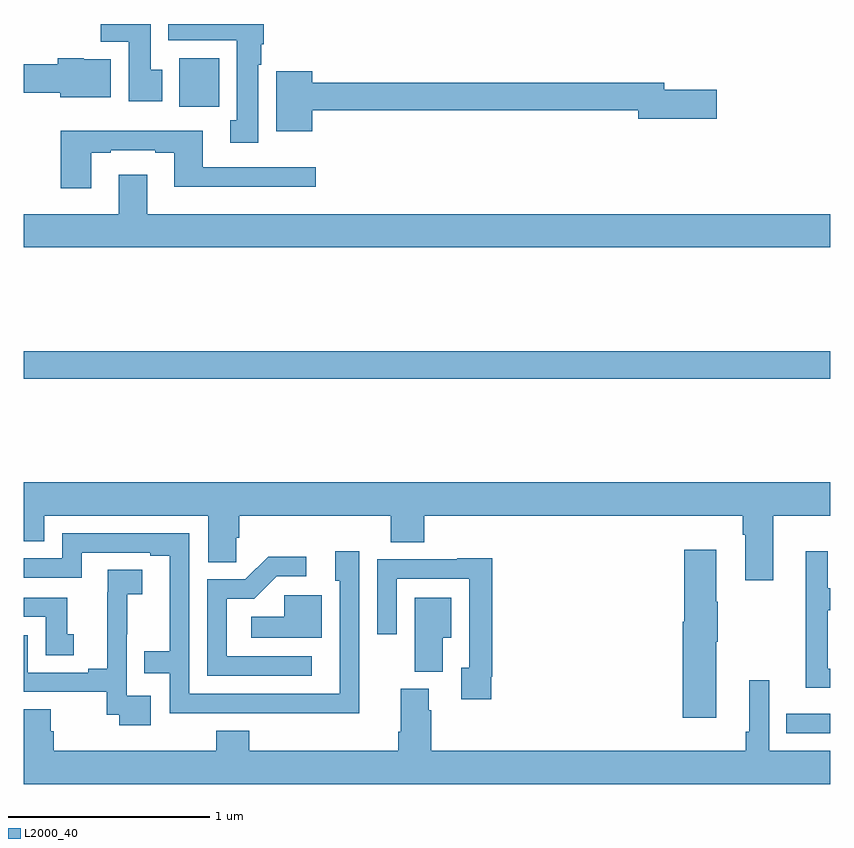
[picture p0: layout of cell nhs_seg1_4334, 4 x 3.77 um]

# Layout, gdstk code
import gdstk
lib = gdstk.Library(unit=1e-6, precision=1e-09)
def R(c, l, rs):  # rectangles x0, y0, x1, y1
    for r in rs: c.add(gdstk.rectangle(r[:2], r[2:], *l))
def P(c, l, *ps):  # polygons
    for p in ps: c.add(gdstk.Polygon(p, *l))
L2000_40 = (2000, 40)

nhs_seg1_4334 = lib.new_cell('nhs_seg1_4334')
R(nhs_seg1_4334, L2000_40, [(350.782,522.681,351,522.777), (347,524.44,351,524.576), (347.771,525.788,347.968,526.03)])
P(nhs_seg1_4334, L2000_40, [(348.163,525.998),(348.178,525.998),(348.178,526.098),(348.19,526.098),(348.19,526.199),(347.717,526.199),(347.717,526.118),(348.056,526.118),(348.056,525.722),(348.023,525.722),(348.023,525.609),(348.163,525.609)],
  [(347.686,525.972),(347.629,525.972),(347.629,526.199),(347.38,526.199),(347.38,526.112),(347.519,526.112),(347.519,525.816),(347.686,525.816)],
  [(347.431,526.024),(347.298,526.024),(347.298,526.03),(347.168,526.03),(347.168,525.999),(347,525.999),(347,525.857),(347.18,525.857),(347.18,525.836),(347.431,525.836)],
  [(348.43,525.772),(350.048,525.772),(350.048,525.73),(350.437,525.73),(350.437,525.872),(350.176,525.872),(350.176,525.908),(348.43,525.908),(348.43,525.964),(348.251,525.964),(348.251,525.668),(348.43,525.668)],
  [(347.335,525.561),(347.431,525.561),(347.431,525.573),(347.651,525.573),(347.651,525.561),(347.747,525.561),(347.747,525.392),(348.448,525.392),(348.448,525.489),(347.887,525.489),(347.887,525.67),(347.183,525.67),(347.183,525.384),(347.335,525.384)],
  [(351,525.256),(347.611,525.256),(347.611,525.451),(347.471,525.451),(347.471,525.256),(347,525.256),(347,525.092),(351,525.092)],
  [(350.719,523.76),(351,523.76),(351,523.924),(347,523.924),(347,523.633),(347.101,523.633),(347.101,523.76),(347.915,523.76),(347.915,523.528),(348.054,523.528),(348.054,523.651),(348.068,523.651),(348.068,523.76),(348.821,523.76),(348.821,523.627),(348.986,523.627),(348.986,523.76),(350.567,523.76),(350.567,523.664),(350.579,523.664),(350.579,523.44),(350.719,523.44)],
  [(348.665,523.082),(348.663,523.082),(348.663,523.582),(348.545,523.582),(348.545,523.437),(348.567,523.437),(348.567,522.876),(347.82,522.876),(347.82,523.671),(347.19,523.671),(347.19,523.548),(347,523.548),(347,523.452),(347.286,523.452),(347.286,523.575),(347.627,523.575),(347.627,523.56),(347.723,523.56),(347.723,523.087),(347.596,523.087),(347.596,522.978),(347.724,522.978),(347.724,522.78),(348.202,522.78),(348.202,522.779),(348.665,522.779)],
  [(350.434,523.133),(350.442,523.133),(350.442,523.333),(350.434,523.333),(350.434,523.591),(350.276,523.591),(350.276,523.233),(350.27,523.233),(350.27,522.756),(350.434,522.756)],
  [(351,522.999),(350.988,522.999),(350.988,523.29),(351,523.29),(351,523.399),(350.989,523.399),(350.989,523.582),(350.879,523.582),(350.879,523.337),(350.88,523.337),(350.88,522.905),(351,522.905)],
  [(348.427,523.062),(348.006,523.062),(348.006,523.347),(348.144,523.347),(348.255,523.458),(348.4,523.458),(348.4,523.556),(348.212,523.556),(348.099,523.443),(347.91,523.443),(347.91,522.966),(348.427,522.966)],
  [(349.318,522.961),(349.325,522.961),(349.325,523.549),(349.149,523.549),(349.149,523.542),(348.753,523.542),(348.753,523.17),(348.849,523.17),(348.849,523.446),(349.209,523.446),(349.209,523.005),(349.169,523.005),(349.169,522.849),(349.318,522.849)],
  [(347.629,522.867),(347.511,522.867),(347.511,523.171),(347.513,523.171),(347.513,523.369),(347.587,523.369),(347.587,523.49),(347.416,523.49),(347.416,523.379),(347.414,523.379),(347.414,523.001),(347.318,523.001),(347.318,522.981),(347.019,522.981),(347.019,523.167),(347,523.167),(347,522.885),(347.41,522.885),(347.41,522.771),(347.473,522.771),(347.473,522.72),(347.629,522.72)],
  [(348.478,523.365),(348.291,523.365),(348.291,523.258),(348.129,523.258),(348.129,523.154),(348.478,523.154)],
  [(347.248,523.17),(347.215,523.17),(347.215,523.353),(347,523.353),(347,523.257),(347.108,523.257),(347.108,523.066),(347.248,523.066)],
  [(349.078,523.154),(349.12,523.154),(349.12,523.351),(348.938,523.351),(348.938,522.985),(349.078,522.985)],
  [(351,522.592),(350.697,522.592),(350.697,522.943),(350.6,522.943),(350.6,522.688),(350.581,522.688),(350.581,522.592),(349.022,522.592),(349.022,522.794),(349.009,522.794),(349.009,522.9),(348.869,522.9),(348.869,522.688),(348.857,522.688),(348.857,522.592),(348.119,522.592),(348.119,522.691),(347.954,522.691),(347.954,522.592),(347.147,522.592),(347.147,522.69),(347.134,522.69),(347.134,522.8),(347,522.8),(347,522.428),(351,522.428)])

lib.write_gds('nhs_seg1_4334.gds')
